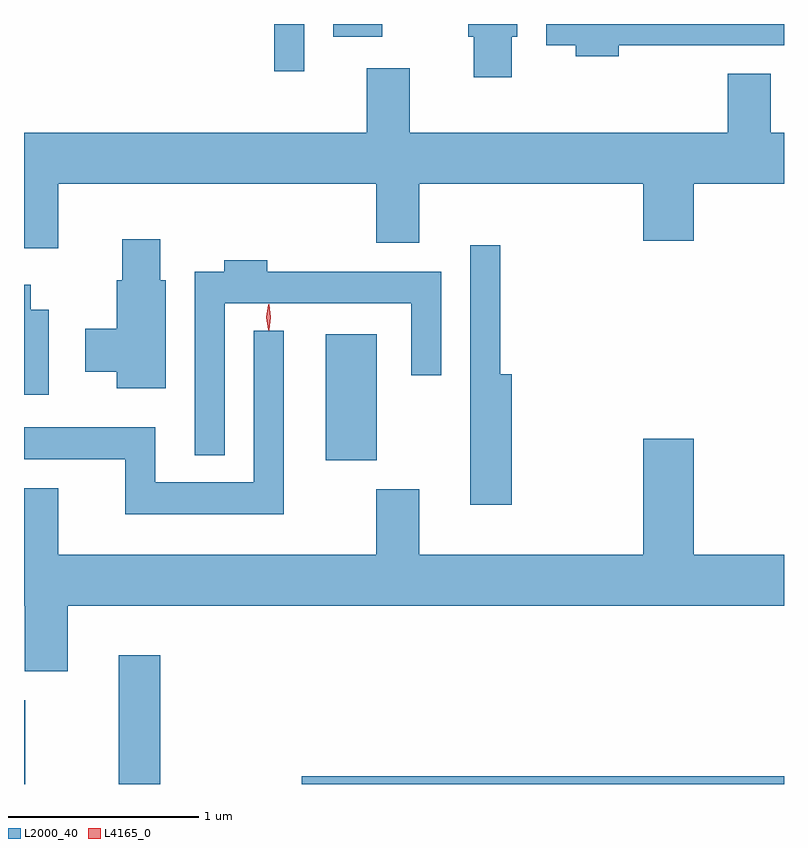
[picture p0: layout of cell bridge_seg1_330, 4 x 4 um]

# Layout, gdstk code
import gdstk
lib = gdstk.Library(unit=1e-6, precision=1e-09)
def R(c, l, rs):  # rectangles x0, y0, x1, y1
    for r in rs: c.add(gdstk.rectangle(r[:2], r[2:], *l))
def P(c, l, *ps):  # polygons
    for p in ps: c.add(gdstk.Polygon(p, *l))
L2000_40 = (2000, 40)
L4165_0 = (4165, 0)

bridge_seg1_330 = lib.new_cell('bridge_seg1_330')
R(bridge_seg1_330, L2000_40, [(911.118,878.657,911.124,879.099), (911.616,878.657,911.834,879.334), (912.581,878.657,915.118,878.699), (912.706,880.361,912.974,881.024), (912.436,882.408,912.594,882.657), (912.746,882.591,913.004,882.657)])
P(bridge_seg1_330, L2000_40, [(914.249,882.546),(915.118,882.546),(915.118,882.657),(913.866,882.657),(913.866,882.546),(914.021,882.546),(914.021,882.486),(914.249,882.486)],
  [(913.684,882.591),(913.714,882.591),(913.714,882.657),(913.456,882.657),(913.456,882.591),(913.486,882.591),(913.486,882.376),(913.684,882.376)],
  [(911.118,881.476),(911.299,881.476),(911.299,881.816),(912.971,881.816),(912.971,881.506),(913.199,881.506),(913.199,881.816),(914.376,881.816),(914.376,881.516),(914.644,881.516),(914.644,881.816),(915.118,881.816),(915.118,882.084),(915.049,882.084),(915.049,882.394),(914.821,882.394),(914.821,882.084),(913.149,882.084),(913.149,882.424),(912.921,882.424),(912.921,882.084),(911.118,882.084)],
  [(911.864,881.309),(911.834,881.309),(911.834,881.524),(911.636,881.524),(911.636,881.309),(911.606,881.309),(911.606,881.054),(911.441,881.054),(911.441,880.826),(911.606,880.826),(911.606,880.741),(911.864,880.741)],
  [(913.684,880.814),(913.624,880.814),(913.624,881.493),(913.466,881.493),(913.466,880.126),(913.684,880.126)],
  [(912.174,881.186),(913.156,881.186),(913.156,880.808),(913.314,880.808),(913.314,881.354),(912.399,881.354),(912.399,881.414),(912.171,881.414),(912.171,881.354),(912.016,881.354),(912.016,880.388),(912.174,880.388)],
  [(911.249,881.154),(911.154,881.154),(911.154,881.284),(911.118,881.284),(911.118,880.706),(911.249,880.706)],
  [(912.484,881.043),(912.326,881.043),(912.326,880.244),(911.809,880.244),(911.809,880.534),(911.118,880.534),(911.118,880.366),(911.651,880.366),(911.651,880.076),(912.484,880.076)],
  [(911.349,879.596),(915.118,879.596),(915.118,879.864),(914.644,879.864),(914.644,880.474),(914.376,880.474),(914.376,879.864),(913.199,879.864),(913.199,880.209),(912.971,880.209),(912.971,879.864),(911.299,879.864),(911.299,880.214),(911.118,880.214),(911.118,879.596),(911.121,879.596),(911.121,879.251),(911.349,879.251)])
P(bridge_seg1_330, L4165_0, [(912.407,881.043),(912.407,881.044),(912.397,881.113),(912.407,881.182),(912.407,881.183),(912.408,881.182),(912.417,881.113),(912.408,881.044)],
  [(912.404,881.047),(912.394,881.114),(912.404,881.18),(912.404,881.18),(912.405,881.18),(912.414,881.114),(912.405,881.047),(912.405,881.047)])

lib.write_gds('bridge_seg1_330.gds')
